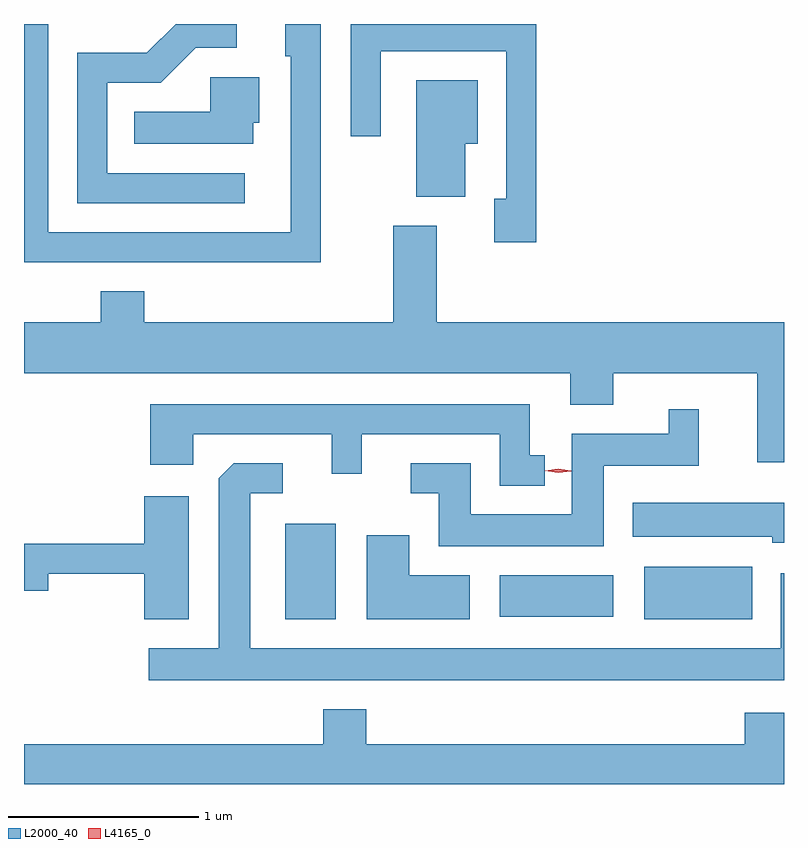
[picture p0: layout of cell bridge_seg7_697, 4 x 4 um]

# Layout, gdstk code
import gdstk
lib = gdstk.Library(unit=1e-6, precision=1e-09)
def R(c, l, rs):  # rectangles x0, y0, x1, y1
    for r in rs: c.add(gdstk.rectangle(r[:2], r[2:], *l))
def P(c, l, *ps):  # polygons
    for p in ps: c.add(gdstk.Polygon(p, *l))
L2000_40 = (2000, 40)
L4165_0 = (4165, 0)

bridge_seg7_697 = lib.new_cell('bridge_seg7_697')
R(bridge_seg7_697, L2000_40, [(883.881,1717.461,884.149,1717.964), (885.771,1717.461,886.339,1717.739), (885.011,1717.476,885.609,1717.694)])
P(bridge_seg7_697, L2000_40, [(884.069,1720.595),(883.881,1720.595),(883.881,1720.426),(883.911,1720.426),(883.911,1719.499),(882.634,1719.499),(882.634,1720.595),(882.507,1720.595),(882.507,1719.341),(884.069,1719.341)],
  [(883.668,1719.809),(882.944,1719.809),(882.944,1720.286),(883.227,1720.286),(883.412,1720.471),(883.628,1720.471),(883.628,1720.595),(883.305,1720.595),(883.154,1720.444),(882.786,1720.444),(882.786,1719.651),(883.668,1719.651)],
  [(885.204,1720.595),(884.226,1720.595),(884.226,1720.003),(884.384,1720.003),(884.384,1720.451),(885.046,1720.451),(885.046,1719.674),(884.981,1719.674),(884.981,1719.446),(885.204,1719.446)],
  [(883.714,1720.076),(883.744,1720.076),(883.744,1720.314),(883.486,1720.314),(883.486,1720.134),(883.088,1720.134),(883.088,1719.966),(883.714,1719.966)],
  [(884.829,1719.966),(884.894,1719.966),(884.894,1720.299),(884.571,1720.299),(884.571,1719.686),(884.829,1719.686)],
  [(886.507,1719.024),(884.679,1719.024),(884.679,1719.534),(884.451,1719.534),(884.451,1719.024),(883.139,1719.024),(883.139,1719.189),(882.911,1719.189),(882.911,1719.024),(882.507,1719.024),(882.507,1718.756),(885.381,1718.756),(885.381,1718.591),(885.609,1718.591),(885.609,1718.756),(886.366,1718.756),(886.366,1718.288),(886.507,1718.288)],
  [(885.248,1718.324),(885.169,1718.324),(885.169,1718.594),(883.171,1718.594),(883.171,1718.276),(883.399,1718.276),(883.399,1718.436),(884.126,1718.436),(884.126,1718.228),(884.284,1718.228),(884.284,1718.436),(885.011,1718.436),(885.011,1718.166),(885.248,1718.166)],
  [(885.559,1718.271),(886.059,1718.271),(886.059,1718.568),(885.901,1718.568),(885.901,1718.439),(885.391,1718.439),(885.391,1718.014),(884.859,1718.014),(884.859,1718.284),(884.543,1718.284),(884.543,1718.126),(884.691,1718.126),(884.691,1717.846),(885.559,1717.846)],
  [(886.507,1717.704),(886.491,1717.704),(886.491,1717.309),(883.699,1717.309),(883.699,1718.126),(883.868,1718.126),(883.868,1718.284),(883.612,1718.284),(883.531,1718.204),(883.531,1717.309),(883.163,1717.309),(883.163,1717.141),(886.507,1717.141)],
  [(883.374,1718.109),(883.141,1718.109),(883.141,1717.859),(882.507,1717.859),(882.507,1717.611),(882.634,1717.611),(882.634,1717.701),(883.141,1717.701),(883.141,1717.461),(883.374,1717.461)],
  [(886.507,1718.074),(885.711,1718.074),(885.711,1717.896),(886.446,1717.896),(886.446,1717.866),(886.507,1717.866)],
  [(884.854,1717.694),(884.534,1717.694),(884.534,1717.904),(884.311,1717.904),(884.311,1717.461),(884.854,1717.461)],
  [(886.507,1716.969),(886.301,1716.969),(886.301,1716.804),(884.309,1716.804),(884.309,1716.989),(884.081,1716.989),(884.081,1716.804),(882.507,1716.804),(882.507,1716.595),(886.507,1716.595)])
P(bridge_seg7_697, L4165_0, [(885.318,1718.233),(885.249,1718.243),(885.249,1718.243),(885.249,1718.244),(885.318,1718.253),(885.388,1718.243),(885.388,1718.243),(885.388,1718.242)])

lib.write_gds('bridge_seg7_697.gds')
